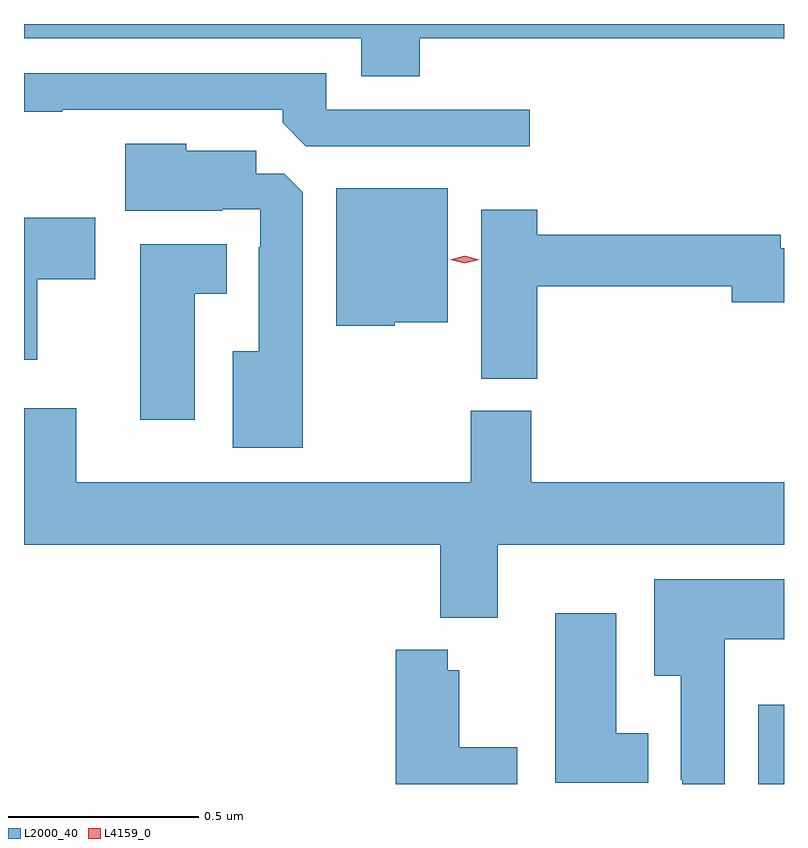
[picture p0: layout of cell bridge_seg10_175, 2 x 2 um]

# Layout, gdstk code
import gdstk
lib = gdstk.Library(unit=1e-6, precision=1e-09)
def R(c, l, rs):  # rectangles x0, y0, x1, y1
    for r in rs: c.add(gdstk.rectangle(r[:2], r[2:], *l))
def P(c, l, *ps):  # polygons
    for p in ps: c.add(gdstk.Polygon(p, *l))
L2000_40 = (2000, 40)
L4159_0 = (4159, 0)

bridge_seg10_175 = lib.new_cell('bridge_seg10_175')
R(bridge_seg10_175, L2000_40, [(223.799,1289.03,223.867,1289.239)])
P(bridge_seg10_175, L2000_40, [(222.908,1290.992),(223.867,1290.992),(223.867,1291.03),(221.867,1291.03),(221.867,1290.992),(222.755,1290.992),(222.755,1290.893),(222.908,1290.893)],
  [(223.198,1290.804),(222.663,1290.804),(222.663,1290.9),(221.867,1290.9),(221.867,1290.799),(221.968,1290.799),(221.968,1290.804),(222.548,1290.804),(222.548,1290.77),(222.609,1290.708),(223.198,1290.708)],
  [(222.601,1290.587),(222.552,1290.636),(222.478,1290.636),(222.478,1290.697),(222.294,1290.697),(222.294,1290.715),(222.134,1290.715),(222.134,1290.539),(222.389,1290.539),(222.389,1290.543),(222.489,1290.543),(222.489,1290.443),(222.485,1290.443),(222.485,1290.169),(222.416,1290.169),(222.416,1289.915),(222.601,1289.915)],
  [(222.843,1290.245),(222.982,1290.245),(222.982,1290.598),(222.689,1290.598),(222.689,1290.236),(222.843,1290.236)],
  [(223.217,1290.34),(223.73,1290.34),(223.73,1290.298),(223.867,1290.298),(223.867,1290.44),(223.858,1290.44),(223.858,1290.476),(223.217,1290.476),(223.217,1290.541),(223.07,1290.541),(223.07,1290.097),(223.217,1290.097)],
  [(221.902,1290.358),(222.055,1290.358),(222.055,1290.52),(221.867,1290.52),(221.867,1290.147),(221.902,1290.147)],
  [(222.316,1290.32),(222.4,1290.32),(222.4,1290.451),(222.173,1290.451),(222.173,1289.988),(222.316,1289.988)],
  [(223.114,1289.66),(223.867,1289.66),(223.867,1289.824),(223.202,1289.824),(223.202,1290.012),(223.042,1290.012),(223.042,1289.824),(222.004,1289.824),(222.004,1290.019),(221.867,1290.019),(221.867,1289.66),(222.962,1289.66),(222.962,1289.468),(223.114,1289.468)],
  [(223.711,1289.411),(223.867,1289.411),(223.867,1289.569),(223.526,1289.569),(223.526,1289.315),(223.595,1289.315),(223.595,1289.041),(223.599,1289.041),(223.599,1289.03),(223.711,1289.03)],
  [(223.51,1289.164),(223.426,1289.164),(223.426,1289.479),(223.265,1289.479),(223.265,1289.033),(223.51,1289.033)],
  [(223.165,1289.127),(223.012,1289.127),(223.012,1289.329),(222.982,1289.329),(222.982,1289.383),(222.845,1289.383),(222.845,1289.03),(223.165,1289.03)])
P(bridge_seg10_175, L4159_0, [(223.027,1290.4),(222.989,1290.409),(222.989,1290.409),(222.989,1290.409),(223.027,1290.42),(223.065,1290.41),(223.065,1290.41),(223.065,1290.41)])

lib.write_gds('bridge_seg10_175.gds')
